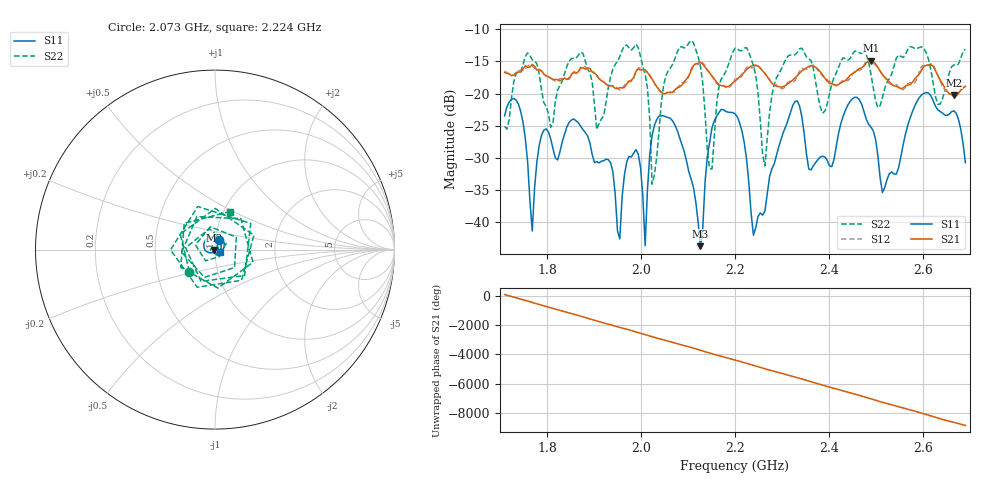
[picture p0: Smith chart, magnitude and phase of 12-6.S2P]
!Agilent Technologies,E5061B,MY49305579,A.02.22
!Date: Thu Aug 24 16:23:08 2017
!Data & Calibration Information:
!Freq	S11:SOLT2(ON)	S21:SOLT2(ON)	S12:SOLT2(ON)	S22:SOLT2(ON)
# Hz S dB R 50
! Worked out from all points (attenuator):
!   201 points, 1.71 GHz to 2.69 GHz, reference 50 ohm
!   highest |S21| = -14.90 dB at 2.489 GHz (marker M1); lowest = -20.2 dB at 2.666 GHz (marker M2)
!   lowest |S11| = -43.7 dB at 2.127 GHz (marker M3), VSWR 1.01, Z = 49.4 - j0.159 ohm
!   |S11| at or under -10 dB: start of sweep to end of sweep
!   |S22| runs from -34.1 to -11.8 dB; largest |S21 - S12| = 0.012
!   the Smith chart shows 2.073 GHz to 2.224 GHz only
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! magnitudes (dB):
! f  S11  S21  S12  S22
! 1.71 GHz  -23.5  -16.7  -16.5  -25.1
! 1.744 GHz  -22.8  -16.7  -16.4  -16.6
! 1.769 GHz  -41.4  -15.5  -15.7  -14.7
! 1.793 GHz  -25.7  -17.0  -16.9  -21.4
! 1.877 GHz  -25.6  -16.0  -15.8  -13.7
! 1.906 GHz  -30.6  -17.1  -17.3  -25.6
! 1.955 GHz  -42.6  -19.1  -19.5  -14.3
! 1.989 GHz  -28.7  -16.6  -16.6  -12.3
! 2.009 GHz  -43.6  -16.3  -16.5  -17.0
! 2.024 GHz  -26.6  -17.7  -17.7  -34.1
! 2.038 GHz  -23.5  -19.3  -19.5  -26.0
! 2.127 GHz  -43.7  -15.2  -15.2  -15.7
! 2.151 GHz  -25.3  -17.3  -17.2  -31.7
! 2.2 GHz  -23.1  -18.1  -17.8  -13.0
! 2.239 GHz  -42.0  -15.6  -15.9  -15.7
! 2.264 GHz  -38.2  -16.9  -16.8  -31.3
! 2.327 GHz  -21.2  -17.6  -18.0  -14.0
! 2.367 GHz  -31.2  -15.7  -15.5  -16.1
! 2.489 GHz  -25.2  -14.9  -14.9  -16.9
! 2.528 GHz  -32.4  -18.2  -18.5  -17.7
! 2.666 GHz  -22.7  -20.2  -20.5  -15.6
! 2.69 GHz  -30.7  -18.9  -18.6  -13.1
